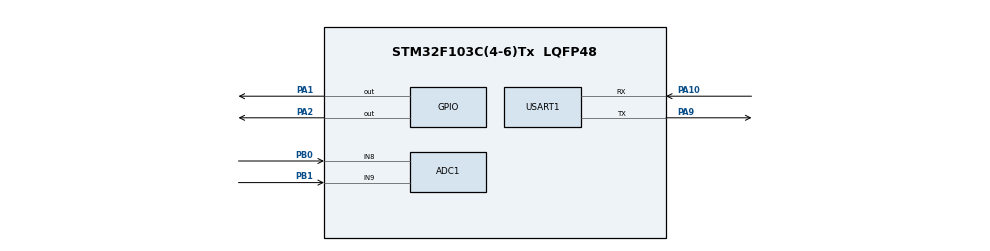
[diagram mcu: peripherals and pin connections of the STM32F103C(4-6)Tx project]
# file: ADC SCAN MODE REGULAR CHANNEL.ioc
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ADC1.Channel-0\#ChannelRegularConversion=ADC_CHANNEL_8
ADC1.Channel-1\#ChannelRegularConversion=ADC_CHANNEL_9
ADC1.NbrOfConversion=2
ADC1.NbrOfConversionFlag=1
ADC1.Rank-0\#ChannelRegularConversion=1
ADC1.Rank-1\#ChannelRegularConversion=2
ADC1.SamplingTime-0\#ChannelRegularConversion=ADC_SAMPLETIME_1CYCLE_5
ADC1.SamplingTime-1\#ChannelRegularConversion=ADC_SAMPLETIME_1CYCLE_5
ADC1.master=1
Dma.ADC1.0.Direction=DMA_PERIPH_TO_MEMORY
Dma.ADC1.0.Instance=DMA1_Channel1
Dma.ADC1.0.MemDataAlignment=DMA_MDATAALIGN_WORD
Dma.ADC1.0.MemInc=DMA_MINC_ENABLE
Dma.ADC1.0.Mode=DMA_CIRCULAR
Dma.ADC1.0.PeriphDataAlignment=DMA_PDATAALIGN_WORD
Dma.ADC1.0.PeriphInc=DMA_PINC_DISABLE
Dma.ADC1.0.Priority=DMA_PRIORITY_LOW
Dma.Request0=ADC1
Mcu.Family=STM32F1
Mcu.Name=STM32F103C(4-6)Tx
Mcu.Package=LQFP48
NVIC.ADC1_2_IRQn=true\:0\:0\:false\:false\:true\:true\:true
NVIC.DMA1_Channel1_IRQn=true\:0\:0\:false\:false\:true\:false\:true
NVIC.PriorityGroup=NVIC_PRIORITYGROUP_4
PA1.Signal=GPIO_Output
PA10.Mode=Asynchronous
PA10.Signal=USART1_RX
PA2.Signal=GPIO_Output
PA9.Mode=Asynchronous
PA9.Signal=USART1_TX
PB0.Signal=ADCx_IN8
PB1.Signal=ADCx_IN9
ProjectManager.HeapSize=0x200
ProjectManager.StackSize=0x400
ProjectManager.TargetToolchain=STM32CubeIDE
RCC.APB1Freq_Value=8000000
RCC.APB2Freq_Value=8000000
SH.ADCx_IN8.0=ADC1_IN8,IN8
SH.ADCx_IN9.0=ADC1_IN9,IN9
USART1.VirtualMode=VM_ASYNC
VP_SYS_VS_ND.Mode=No_Debug
board=custom

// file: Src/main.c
/* USER CODE BEGIN Header */
/**
  ******************************************************************************
  * @file           : main.c
  * @brief          : Main program body
  ******************************************************************************
  * @attention
  *
  * <h2><center>&copy; Copyright (c) 2023 STMicroelectronics.
  * All rights reserved.</center></h2>
  *
  * This software component is licensed by ST under BSD 3-Clause license,
  * the "License"; You may not use this file except in compliance with the
  * License. You may obtain a copy of the License at:
  *                        opensource.org/licenses/BSD-3-Clause
  *
  ******************************************************************************
  */
/* USER CODE END Header */

#include "main.h"

/* USER CODE BEGIN Includes */
#include<stdio.h>
#include<string.h>
/* USER CODE END Includes */

ADC_HandleTypeDef hadc1;
DMA_HandleTypeDef hdma_adc1;

UART_HandleTypeDef huart1;

void SystemClock_Config(void);
static void MX_GPIO_Init(void);
static void MX_DMA_Init(void);
static void MX_ADC1_Init(void);
static void MX_USART1_UART_Init(void);

/* USER CODE BEGIN 0 */
char MSG[50];
uint16_t ADC_VAL[2];
volatile int adcConvertionComplete=0;
void HAL_ADC_ConvCpltCallback(ADC_HandleTypeDef* hadc)
{
  adcConvertionComplete=1;
  HAL_GPIO_WritePin(GPIOA, GPIO_PIN_1, 0);
  HAL_GPIO_WritePin(GPIOA, GPIO_PIN_0, 1);
}
/* USER CODE END 0 */

int main(void)
{

  /* MCU Configuration--------------------------------------------------------*/

  /* Reset of all peripherals, Initializes the Flash interface and the Systick. */
  HAL_Init();

  /* Configure the system clock */
  SystemClock_Config();

  /* Initialize all configured peripherals */
  MX_GPIO_Init();
  MX_DMA_Init();
  MX_ADC1_Init();
  MX_USART1_UART_Init();

  /* Infinite loop */
  while (1)
  {

    /* USER CODE BEGIN 3 */
    HAL_ADC_Start_DMA(&hadc1, (uint32_t*)ADC_VAL, 2);

    while(adcConvertionComplete==0){}
    adcConvertionComplete==0;
    snprintf(MSG,sizeof(MSG),"ADC SCAN Channels =  %d\n\r",ADC_VAL[0]);
    HAL_UART_Transmit(&huart1, MSG, strlen(MSG), HAL_MAX_DELAY);
    HAL_GPIO_WritePin(GPIOA, GPIO_PIN_1, 1);
    HAL_GPIO_WritePin(GPIOA, GPIO_PIN_0, 0);
    HAL_Delay(1000);

  }
  /* USER CODE END 3 */
}

void SystemClock_Config(void)
{
  RCC_OscInitTypeDef RCC_OscInitStruct = {0};
  RCC_ClkInitTypeDef RCC_ClkInitStruct = {0};
  RCC_PeriphCLKInitTypeDef PeriphClkInit = {0};

  /** Initializes the CPU, AHB and APB busses clocks
  */
  RCC_OscInitStruct.OscillatorType = RCC_OSCILLATORTYPE_HSI;
  RCC_OscInitStruct.HSIState = RCC_HSI_ON;
  RCC_OscInitStruct.HSICalibrationValue = RCC_HSICALIBRATION_DEFAULT;
  RCC_OscInitStruct.PLL.PLLState = RCC_PLL_NONE;
  if (HAL_RCC_OscConfig(&RCC_OscInitStruct) != HAL_OK)
  {
    Error_Handler();
  }
  /** Initializes the CPU, AHB and APB busses clocks
  */
  RCC_ClkInitStruct.ClockType = RCC_CLOCKTYPE_HCLK|RCC_CLOCKTYPE_SYSCLK
                              |RCC_CLOCKTYPE_PCLK1|RCC_CLOCKTYPE_PCLK2;
  RCC_ClkInitStruct.SYSCLKSource = RCC_SYSCLKSOURCE_HSI;
  RCC_ClkInitStruct.AHBCLKDivider = RCC_SYSCLK_DIV1;
  RCC_ClkInitStruct.APB1CLKDivider = RCC_HCLK_DIV1;
  RCC_ClkInitStruct.APB2CLKDivider = RCC_HCLK_DIV1;

  if (HAL_RCC_ClockConfig(&RCC_ClkInitStruct, FLASH_LATENCY_0) != HAL_OK)
  {
    Error_Handler();
  }
  PeriphClkInit.PeriphClockSelection = RCC_PERIPHCLK_ADC;
  PeriphClkInit.AdcClockSelection = RCC_ADCPCLK2_DIV2;
  if (HAL_RCCEx_PeriphCLKConfig(&PeriphClkInit) != HAL_OK)
  {
    Error_Handler();
  }
}

static void MX_ADC1_Init(void)
{

  ADC_ChannelConfTypeDef sConfig = {0};

  /** Common config
  */
  hadc1.Instance = ADC1;
  hadc1.Init.ScanConvMode = ADC_SCAN_ENABLE;
  hadc1.Init.ContinuousConvMode = DISABLE;
  hadc1.Init.DiscontinuousConvMode = DISABLE;
  hadc1.Init.ExternalTrigConv = ADC_SOFTWARE_START;
  hadc1.Init.DataAlign = ADC_DATAALIGN_RIGHT;
  hadc1.Init.NbrOfConversion = 2;
  if (HAL_ADC_Init(&hadc1) != HAL_OK)
  {
    Error_Handler();
  }
  /** Configure Regular Channel
  */
  sConfig.Channel = ADC_CHANNEL_8;
  sConfig.Rank = ADC_REGULAR_RANK_1;
  sConfig.SamplingTime = ADC_SAMPLETIME_1CYCLE_5;
  if (HAL_ADC_ConfigChannel(&hadc1, &sConfig) != HAL_OK)
  {
    Error_Handler();
  }
  /** Configure Regular Channel
  */
  sConfig.Channel = ADC_CHANNEL_9;
  sConfig.Rank = ADC_REGULAR_RANK_2;
  if (HAL_ADC_ConfigChannel(&hadc1, &sConfig) != HAL_OK)
  {
    Error_Handler();
  }

}

static void MX_USART1_UART_Init(void)
{

  huart1.Instance = USART1;
  huart1.Init.BaudRate = 115200;
  huart1.Init.WordLength = UART_WORDLENGTH_8B;
  huart1.Init.StopBits = UART_STOPBITS_1;
  huart1.Init.Parity = UART_PARITY_NONE;
  huart1.Init.Mode = UART_MODE_TX_RX;
  huart1.Init.HwFlowCtl = UART_HWCONTROL_NONE;
  huart1.Init.OverSampling = UART_OVERSAMPLING_16;
  if (HAL_UART_Init(&huart1) != HAL_OK)
  {
    Error_Handler();
  }

}

static void MX_DMA_Init(void)
{

  /* DMA controller clock enable */
  __HAL_RCC_DMA1_CLK_ENABLE();

  /* DMA interrupt init */
  /* DMA1_Channel1_IRQn interrupt configuration */
  HAL_NVIC_SetPriority(DMA1_Channel1_IRQn, 0, 0);
  HAL_NVIC_EnableIRQ(DMA1_Channel1_IRQn);

}

static void MX_GPIO_Init(void)
{
  GPIO_InitTypeDef GPIO_InitStruct = {0};

  /* GPIO Ports Clock Enable */
  __HAL_RCC_GPIOA_CLK_ENABLE();
  __HAL_RCC_GPIOB_CLK_ENABLE();

  /*Configure GPIO pin Output Level */
  HAL_GPIO_WritePin(GPIOA, GPIO_PIN_1|GPIO_PIN_2, GPIO_PIN_RESET);

  /*Configure GPIO pins : PA1 PA2 */
  GPIO_InitStruct.Pin = GPIO_PIN_1|GPIO_PIN_2;
  GPIO_InitStruct.Mode = GPIO_MODE_OUTPUT_PP;
  GPIO_InitStruct.Pull = GPIO_NOPULL;
  GPIO_InitStruct.Speed = GPIO_SPEED_FREQ_LOW;
  HAL_GPIO_Init(GPIOA, &GPIO_InitStruct);

}

void Error_Handler(void)
{
}

/************************ (C) COPYRIGHT STMicroelectronics *****END OF FILE****/
